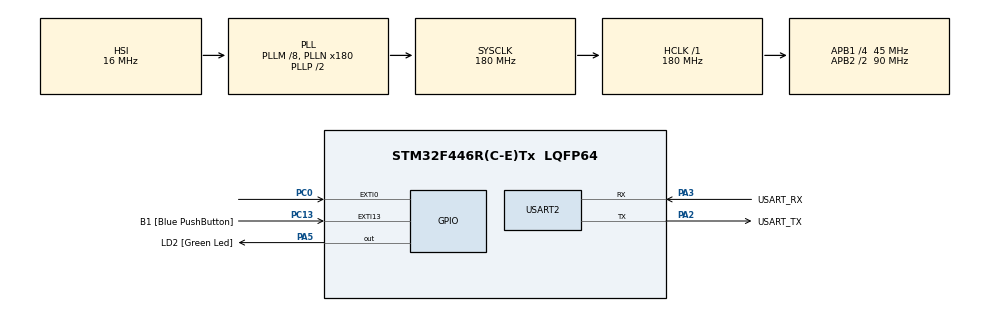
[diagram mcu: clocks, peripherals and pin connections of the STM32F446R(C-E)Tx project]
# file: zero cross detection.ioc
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Mcu.Family=STM32F4
Mcu.Name=STM32F446R(C-E)Tx
Mcu.Package=LQFP64
NVIC.EXTI0_IRQn=true\:0\:0\:false\:false\:true\:true\:true\:true
NVIC.EXTI15_10_IRQn=true\:0\:0\:false\:false\:true\:true\:true\:true
NVIC.PriorityGroup=NVIC_PRIORITYGROUP_0
PA13.GPIO_Label=TMS
PA13.Mode=Serial_Wire
PA13.Signal=SYS_JTMS-SWDIO
PA14.GPIO_Label=TCK
PA14.Mode=Serial_Wire
PA14.Signal=SYS_JTCK-SWCLK
PA2.GPIO_Label=USART_TX
PA2.Mode=Asynchronous
PA2.Signal=USART2_TX
PA3.GPIO_Label=USART_RX
PA3.Mode=Asynchronous
PA3.Signal=USART2_RX
PA5.GPIO_Label=LD2 [Green Led]
PA5.GPIO_PuPd=GPIO_NOPULL
PA5.Signal=GPIO_Output
PB3.GPIO_Label=SWO
PB3.Signal=SYS_JTDO-SWO
PC0.GPIO_ModeDefaultEXTI=GPIO_MODE_IT_RISING
PC0.GPIO_PuPd=GPIO_PULLUP
PC0.Signal=GPXTI0
PC13.GPIO_Label=B1 [Blue PushButton]
PC13.GPIO_ModeDefaultEXTI=GPIO_MODE_IT_FALLING
PC13.Signal=GPXTI13
PC14-OSC32_IN.Mode=LSE-External-Oscillator
PC14-OSC32_IN.Signal=RCC_OSC32_IN
PC15-OSC32_OUT.Mode=LSE-External-Oscillator
PC15-OSC32_OUT.Signal=RCC_OSC32_OUT
PH0-OSC_IN.Mode=HSE-External-Oscillator
PH0-OSC_IN.Signal=RCC_OSC_IN
PH1-OSC_OUT.Mode=HSE-External-Oscillator
PH1-OSC_OUT.Signal=RCC_OSC_OUT
ProjectManager.HeapSize=0x200
ProjectManager.StackSize=0x400
ProjectManager.TargetToolchain=STM32CubeIDE
RCC.48MHZClocksFreq_Value=84000000
RCC.AHBFreq_Value=180000000
RCC.APB1CLKDivider=RCC_HCLK_DIV4
RCC.APB1Freq_Value=45000000
RCC.APB1TimFreq_Value=90000000
RCC.APB2CLKDivider=RCC_HCLK_DIV2
RCC.APB2Freq_Value=90000000
RCC.APB2TimFreq_Value=180000000
RCC.CortexFreq_Value=180000000
RCC.FLatency-AdvancedSettings=FLASH_LATENCY_5
RCC.HCLKFreq_Value=180000000
RCC.HSE_VALUE=8000000
RCC.HSI_VALUE=16000000
RCC.PLLM=8
RCC.PLLN=180
RCC.SYSCLKFreq_VALUE=180000000
RCC.SYSCLKSource=RCC_SYSCLKSOURCE_PLLCLK
RCC.USBFreq_Value=180000000
RCC.VCOOutputFreq_Value=360000000
TIM2.Prescaler=89
USART2.VirtualMode=VM_ASYNC
VP_TIM2_VS_ClockSourceINT.Mode=Internal
board=NUCLEO-F446RE

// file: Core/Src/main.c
/* USER CODE BEGIN Header */
/**
  ******************************************************************************
  * @file           : main.c
  * @brief          : Zero Cross Detection — STM32 Nucleo F446RE
  ******************************************************************************
  * HARDWARE:
  *   PC0  = Zero Cross input (H11AA1 optocoupler, rising edge)
  *   PA5  = LD2 LED — toggles on each zero crossing
  *   PA2  = USART2 TX — serial output to PuTTY (115200 baud)
  *
  * HOW IT WORKS:
  *   1. H11AA1 optocoupler drives PC0 with a pulse at every AC zero crossing
  *   2. EXTI0 fires on rising edge → measures period with TIM2 (1µs tick)
  *   3. Moving-average filter smooths period measurement
  *   4. Main loop prints Freq, ZC/s, and Waves/s every 500ms via UART
  ******************************************************************************
  */
/* USER CODE END Header */
#include "main.h"

/* USER CODE BEGIN Includes */
#include <stdio.h>
#include <string.h>
/* USER CODE END Includes */

TIM_HandleTypeDef htim2;

UART_HandleTypeDef huart2;

/* USER CODE BEGIN PV */

/* ==================== CONFIGURATION ==================== */
#define FILTER_SIZE     8           /* Moving average filter depth              */
#define DEBOUNCE_US     4000        /* 4ms debounce (rejects optocoupler noise) */
#define MIN_PERIOD_US   1000        /* Reject periods < 1ms  (>1000 Hz noise)  */
#define MAX_PERIOD_US   100000      /* Reject periods > 100ms (<10 Hz)         */

/* ==================== ZERO CROSSING STATE ==================== */
volatile uint32_t last_capture          = 0;
volatile uint32_t crossing_period_us    = 20000;   /* Default: 20ms (50Hz half-wave) */
volatile uint32_t period_buffer[FILTER_SIZE] = {0};
volatile uint8_t  buf_index        = 0;
volatile uint8_t  buf_filled       = 0;
volatile uint32_t last_cross_tick  = 0;       /* HAL_GetTick timestamp         */
volatile uint8_t  first_edge       = 1;       /* skip first edge after boot    */
volatile uint32_t zero_cross_count = 0;       /* raw ZC count in current window*/

/* USER CODE END PV */

void SystemClock_Config(void);
static void MX_GPIO_Init(void);
static void MX_TIM2_Init(void);
static void MX_USART2_UART_Init(void);

/* USER CODE BEGIN 0 */

/* ======================== HELPER ======================== */
void UART_Print(const char *str)
{
    HAL_UART_Transmit(&huart2, (uint8_t*)str, strlen(str), 100);
}

/* ======================== CALLBACKS ======================== */

/* Zero Crossing ISR — called on every rising edge on PC0 */
void HAL_GPIO_EXTI_Callback(uint16_t GPIO_Pin)
{
    if (GPIO_Pin == GPIO_PIN_0)
    {
        uint32_t now  = __HAL_TIM_GET_COUNTER(&htim2);
        uint32_t diff = now - last_capture;

        /* Debounce: ignore if too fast (noise / bounce) */
        if (diff < DEBOUNCE_US) return;

        last_capture = now;
        zero_cross_count++;
        last_cross_tick = HAL_GetTick();

        /* Skip the very first edge — diff from boot is invalid */
        if (first_edge)
        {
            first_edge = 0;
            HAL_GPIO_TogglePin(LD2_GPIO_Port, LD2_Pin);
            return;
        }

        /* Accept only reasonable AC frequency range */
        if (diff >= MIN_PERIOD_US && diff <= MAX_PERIOD_US)
        {
            period_buffer[buf_index] = diff;
            buf_index = (buf_index + 1) % FILTER_SIZE;
            if (buf_index == 0) buf_filled = 1;

            /* Compute moving average */
            uint32_t count = buf_filled ? FILTER_SIZE : buf_index;
            if (count == 0) count = 1;
            uint32_t sum = 0;
            for (uint8_t i = 0; i < count; i++) sum += period_buffer[i];
            crossing_period_us = sum / count;
        }

        HAL_GPIO_TogglePin(LD2_GPIO_Port, LD2_Pin);
    }
}

/* USER CODE END 0 */

int main(void)
{

  /* MCU Configuration--------------------------------------------------------*/

  /* Reset of all peripherals, Initializes the Flash interface and the Systick. */
  HAL_Init();

  /* Configure the system clock */
  SystemClock_Config();

  /* Initialize all configured peripherals */
  MX_GPIO_Init();
  MX_TIM2_Init();
  MX_USART2_UART_Init();
  /* USER CODE BEGIN 2 */

  /* Start TIM2 free-running counter (1µs per tick) */
  HAL_TIM_Base_Start(&htim2);

  UART_Print("\r\n\r\n");
  UART_Print("=========================================\r\n");
  UART_Print("  Zero Cross Detection\r\n");
  UART_Print("  STM32 Nucleo F446RE\r\n");
  UART_Print("  PC0 = H11AA1 ZCD input\r\n");
  UART_Print("=========================================\r\n\r\n");

  /* USER CODE END 2 */

  /* Infinite loop */
  /* USER CODE BEGIN WHILE */
  uint32_t last_print_tick = HAL_GetTick();

  while (1)
  {
    /* USER CODE END WHILE */

    /* USER CODE BEGIN 3 */
    uint32_t now_ms = HAL_GetTick();
    uint32_t dt_ms  = now_ms - last_print_tick;

    if (dt_ms >= 500)
    {
        float freq        = 0.0f;
        uint32_t zc_per_sec   = 0;
        uint32_t waves_per_sec = 0;

        /* Check if signal is still alive (seen a ZC in last 1 second) */
        if ((now_ms - last_cross_tick) < 1000)
        {
            /* H11AA1 fires on BOTH zero crossings per AC cycle,
             * so crossing_period_us = half-cycle.  AC freq = 1/(2*period). */
            if (crossing_period_us > 0)
                freq = 1000000.0f / (float)crossing_period_us / 2.0f;

            /* Scale zero_cross_count to per-second rate */
            zc_per_sec = (dt_ms > 0) ? (zero_cross_count * 1000UL / dt_ms) : 0;

            /* 2 zero crossings per full AC wave */
            waves_per_sec = zc_per_sec / 2;
        }

        char msg[120];
        int len = sprintf(msg,
            "Freq: %.2f Hz | ZC/s: %lu | Waves/s: %lu\r\n",
            freq, zc_per_sec, waves_per_sec
        ); /* @suppress("Float formatting support") */
        HAL_UART_Transmit(&huart2, (uint8_t*)msg, (uint16_t)len, 100);

        zero_cross_count = 0;
        last_print_tick  = now_ms;
    }
  }
  /* USER CODE END 3 */
}

void SystemClock_Config(void)
{
  RCC_OscInitTypeDef RCC_OscInitStruct = {0};
  RCC_ClkInitTypeDef RCC_ClkInitStruct = {0};

  /** Configure the main internal regulator output voltage
  */
  __HAL_RCC_PWR_CLK_ENABLE();
  __HAL_PWR_VOLTAGESCALING_CONFIG(PWR_REGULATOR_VOLTAGE_SCALE1);

  /** Initializes the RCC Oscillators according to the specified parameters
  * in the RCC_OscInitTypeDef structure.
  */
  RCC_OscInitStruct.OscillatorType = RCC_OSCILLATORTYPE_HSI;
  RCC_OscInitStruct.HSIState = RCC_HSI_ON;
  RCC_OscInitStruct.HSICalibrationValue = RCC_HSICALIBRATION_DEFAULT;
  RCC_OscInitStruct.PLL.PLLState = RCC_PLL_ON;
  RCC_OscInitStruct.PLL.PLLSource = RCC_PLLSOURCE_HSI;
  RCC_OscInitStruct.PLL.PLLM = 8;
  RCC_OscInitStruct.PLL.PLLN = 180;
  RCC_OscInitStruct.PLL.PLLP = RCC_PLLP_DIV2;
  RCC_OscInitStruct.PLL.PLLQ = 2;
  RCC_OscInitStruct.PLL.PLLR = 2;
  if (HAL_RCC_OscConfig(&RCC_OscInitStruct) != HAL_OK)
  {
    Error_Handler();
  }

  /** Activate the Over-Drive mode
  */
  if (HAL_PWREx_EnableOverDrive() != HAL_OK)
  {
    Error_Handler();
  }

  /** Initializes the CPU, AHB and APB buses clocks
  */
  RCC_ClkInitStruct.ClockType = RCC_CLOCKTYPE_HCLK|RCC_CLOCKTYPE_SYSCLK
                              |RCC_CLOCKTYPE_PCLK1|RCC_CLOCKTYPE_PCLK2;
  RCC_ClkInitStruct.SYSCLKSource = RCC_SYSCLKSOURCE_PLLCLK;
  RCC_ClkInitStruct.AHBCLKDivider = RCC_SYSCLK_DIV1;
  RCC_ClkInitStruct.APB1CLKDivider = RCC_HCLK_DIV4;
  RCC_ClkInitStruct.APB2CLKDivider = RCC_HCLK_DIV2;

  if (HAL_RCC_ClockConfig(&RCC_ClkInitStruct, FLASH_LATENCY_5) != HAL_OK)
  {
    Error_Handler();
  }
}

static void MX_TIM2_Init(void)
{

  TIM_ClockConfigTypeDef sClockSourceConfig = {0};
  TIM_MasterConfigTypeDef sMasterConfig = {0};

  htim2.Instance = TIM2;
  htim2.Init.Prescaler = 89;
  htim2.Init.CounterMode = TIM_COUNTERMODE_UP;
  htim2.Init.Period = 4294967295;
  htim2.Init.ClockDivision = TIM_CLOCKDIVISION_DIV1;
  htim2.Init.AutoReloadPreload = TIM_AUTORELOAD_PRELOAD_DISABLE;
  if (HAL_TIM_Base_Init(&htim2) != HAL_OK)
  {
    Error_Handler();
  }
  sClockSourceConfig.ClockSource = TIM_CLOCKSOURCE_INTERNAL;
  if (HAL_TIM_ConfigClockSource(&htim2, &sClockSourceConfig) != HAL_OK)
  {
    Error_Handler();
  }
  sMasterConfig.MasterOutputTrigger = TIM_TRGO_RESET;
  sMasterConfig.MasterSlaveMode = TIM_MASTERSLAVEMODE_DISABLE;
  if (HAL_TIMEx_MasterConfigSynchronization(&htim2, &sMasterConfig) != HAL_OK)
  {
    Error_Handler();
  }

}

static void MX_USART2_UART_Init(void)
{

  huart2.Instance = USART2;
  huart2.Init.BaudRate = 115200;
  huart2.Init.WordLength = UART_WORDLENGTH_8B;
  huart2.Init.StopBits = UART_STOPBITS_1;
  huart2.Init.Parity = UART_PARITY_NONE;
  huart2.Init.Mode = UART_MODE_TX_RX;
  huart2.Init.HwFlowCtl = UART_HWCONTROL_NONE;
  huart2.Init.OverSampling = UART_OVERSAMPLING_16;
  if (HAL_UART_Init(&huart2) != HAL_OK)
  {
    Error_Handler();
  }

}

static void MX_GPIO_Init(void)
{
  GPIO_InitTypeDef GPIO_InitStruct = {0};

  /* GPIO Ports Clock Enable */
  __HAL_RCC_GPIOC_CLK_ENABLE();
  __HAL_RCC_GPIOH_CLK_ENABLE();
  __HAL_RCC_GPIOA_CLK_ENABLE();
  __HAL_RCC_GPIOB_CLK_ENABLE();

  /*Configure GPIO pin Output Level */
  HAL_GPIO_WritePin(LD2_GPIO_Port, LD2_Pin, GPIO_PIN_RESET);

  /*Configure GPIO pin : B1_Pin */
  GPIO_InitStruct.Pin = B1_Pin;
  GPIO_InitStruct.Mode = GPIO_MODE_IT_FALLING;
  GPIO_InitStruct.Pull = GPIO_NOPULL;
  HAL_GPIO_Init(B1_GPIO_Port, &GPIO_InitStruct);

  /*Configure GPIO pin : PC0 */
  GPIO_InitStruct.Pin = GPIO_PIN_0;
  GPIO_InitStruct.Mode = GPIO_MODE_IT_RISING;
  GPIO_InitStruct.Pull = GPIO_PULLUP;
  HAL_GPIO_Init(GPIOC, &GPIO_InitStruct);

  /*Configure GPIO pin : LD2_Pin */
  GPIO_InitStruct.Pin = LD2_Pin;
  GPIO_InitStruct.Mode = GPIO_MODE_OUTPUT_PP;
  GPIO_InitStruct.Pull = GPIO_NOPULL;
  GPIO_InitStruct.Speed = GPIO_SPEED_FREQ_LOW;
  HAL_GPIO_Init(LD2_GPIO_Port, &GPIO_InitStruct);

  /* EXTI interrupt init*/
  HAL_NVIC_SetPriority(EXTI0_IRQn, 0, 0);
  HAL_NVIC_EnableIRQ(EXTI0_IRQn);

  HAL_NVIC_SetPriority(EXTI15_10_IRQn, 0, 0);
  HAL_NVIC_EnableIRQ(EXTI15_10_IRQn);

}

void Error_Handler(void)
{
  __disable_irq();
  while (1)
  {
  }
}
